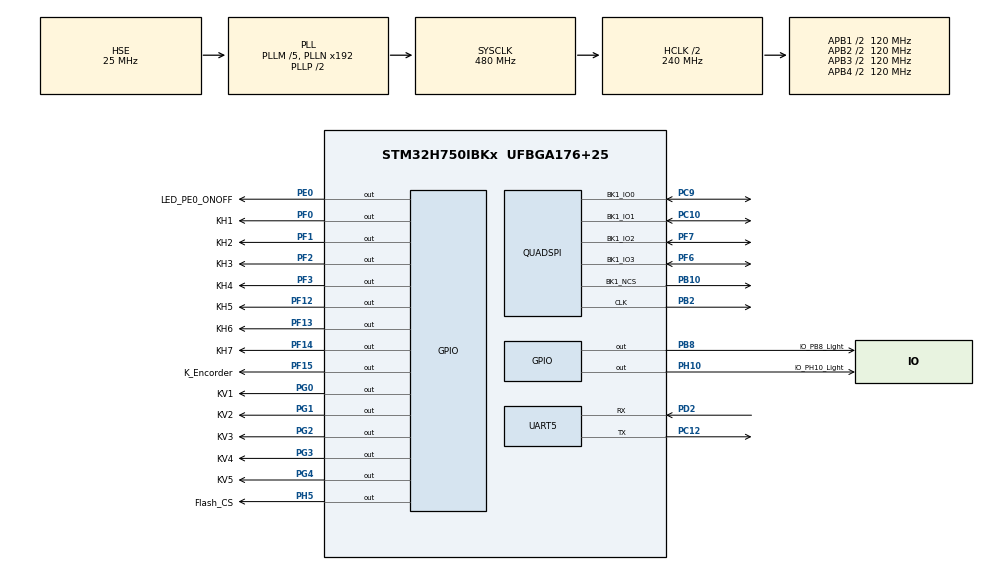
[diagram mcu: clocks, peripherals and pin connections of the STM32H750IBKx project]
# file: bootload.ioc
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CORTEX_M7.AccessPermission_S-Cortex_Memory_Protection_Unit_Region1_Settings_S=MPU_REGION_FULL_ACCESS
CORTEX_M7.AccessPermission_S-Cortex_Memory_Protection_Unit_Region2_Settings_S=MPU_REGION_FULL_ACCESS
CORTEX_M7.AccessPermission_S-Cortex_Memory_Protection_Unit_Region3_Settings_S=MPU_REGION_FULL_ACCESS
CORTEX_M7.AccessPermission_Spec=MPU_REGION_FULL_ACCESS
CORTEX_M7.BaseAddress_S-Cortex_Memory_Protection_Unit_Region1_Settings_S=0x30044000
CORTEX_M7.BaseAddress_S-Cortex_Memory_Protection_Unit_Region2_Settings_S=0x24000000
CORTEX_M7.BaseAddress_S-Cortex_Memory_Protection_Unit_Region3_Settings_S=0x90000000
CORTEX_M7.BaseAddress_Spec=0x30040000
CORTEX_M7.DisableExec_Spec=MPU_INSTRUCTION_ACCESS_ENABLE
CORTEX_M7.Enable_S-Cortex_Memory_Protection_Unit_Region1_Settings_S=MPU_REGION_ENABLE
CORTEX_M7.Enable_S-Cortex_Memory_Protection_Unit_Region2_Settings_S=MPU_REGION_ENABLE
CORTEX_M7.Enable_S-Cortex_Memory_Protection_Unit_Region3_Settings_S=MPU_REGION_ENABLE
CORTEX_M7.IsBufferable_S-Cortex_Memory_Protection_Unit_Region2_Settings_S=MPU_ACCESS_BUFFERABLE
CORTEX_M7.IsBufferable_S-Cortex_Memory_Protection_Unit_Region3_Settings_S=MPU_ACCESS_BUFFERABLE
CORTEX_M7.IsBufferable_Spec=MPU_ACCESS_BUFFERABLE
CORTEX_M7.IsCacheable_S-Cortex_Memory_Protection_Unit_Region1_Settings_S=MPU_ACCESS_CACHEABLE
CORTEX_M7.IsCacheable_S-Cortex_Memory_Protection_Unit_Region2_Settings_S=MPU_ACCESS_CACHEABLE
CORTEX_M7.IsCacheable_S-Cortex_Memory_Protection_Unit_Region3_Settings_S=MPU_ACCESS_CACHEABLE
CORTEX_M7.IsCacheable_Spec=MPU_ACCESS_NOT_CACHEABLE
CORTEX_M7.IsShareable_S-Cortex_Memory_Protection_Unit_Region2_Settings_S=MPU_ACCESS_SHAREABLE
CORTEX_M7.IsShareable_Spec=MPU_ACCESS_NOT_SHAREABLE
CORTEX_M7.Size_S-Cortex_Memory_Protection_Unit_Region1_Settings_S=MPU_REGION_SIZE_64KB
CORTEX_M7.Size_S-Cortex_Memory_Protection_Unit_Region2_Settings_S=MPU_REGION_SIZE_512KB
CORTEX_M7.Size_S-Cortex_Memory_Protection_Unit_Region3_Settings_S=MPU_REGION_SIZE_8MB
CORTEX_M7.Size_Spec=MPU_REGION_SIZE_256B
CORTEX_M7.SubRegionDisable_Spec=0x00
CORTEX_M7.default_mode_Activation=1
Mcu.Family=STM32H7
Mcu.Name=STM32H750IBKx
Mcu.Package=UFBGA176+25
NVIC.PriorityGroup=NVIC_PRIORITYGROUP_4
NVIC.TIM6_DAC_IRQn=true\:15\:0\:false\:false\:true\:false\:true\:true
NVIC.TimeBase=TIM6_DAC_IRQn
NVIC.TimeBaseIP=TIM6
PA13\ (JTMS/SWDIO).Mode=Serial_Wire
PA13\ (JTMS/SWDIO).Signal=DEBUG_JTMS-SWDIO
PA14\ (JTCK/SWCLK).Mode=Serial_Wire
PA14\ (JTCK/SWCLK).Signal=DEBUG_JTCK-SWCLK
PB10.GPIO_Speed=GPIO_SPEED_FREQ_VERY_HIGH
PB10.Mode=Single Bank 1
PB10.Signal=QUADSPI_BK1_NCS
PB2.GPIO_Speed=GPIO_SPEED_FREQ_VERY_HIGH
PB2.Mode=Single Bank 1
PB2.Signal=QUADSPI_CLK
PB8.GPIO_Label=IO_PB8_Light
PB8.Signal=GPIO_Output
PC10.GPIO_Speed=GPIO_SPEED_FREQ_VERY_HIGH
PC10.Mode=Single Bank 1
PC10.Signal=QUADSPI_BK1_IO1
PC12.Mode=Asynchronous
PC12.Signal=UART5_TX
PC9.GPIO_Speed=GPIO_SPEED_FREQ_VERY_HIGH
PC9.Mode=Single Bank 1
PC9.Signal=QUADSPI_BK1_IO0
PD2.Mode=Asynchronous
PD2.Signal=UART5_RX
PE0.GPIO_Label=LED_PE0_ONOFF
PE0.Signal=GPIO_Output
PF0.GPIO_Label=KH1
PF0.Signal=GPIO_Output
PF1.GPIO_Label=KH2
PF1.Signal=GPIO_Output
PF12.GPIO_Label=KH5
PF12.Signal=GPIO_Output
PF13.GPIO_Label=KH6
PF13.Signal=GPIO_Output
PF14.GPIO_Label=KH7
PF14.Signal=GPIO_Output
PF15.GPIO_Label=K_Encorder
PF15.Signal=GPIO_Output
PF2.GPIO_Label=KH3
PF2.Signal=GPIO_Output
PF3.GPIO_Label=KH4
PF3.Signal=GPIO_Output
PF6.GPIO_Speed=GPIO_SPEED_FREQ_VERY_HIGH
PF6.Mode=Single Bank 1
PF6.Signal=QUADSPI_BK1_IO3
PF7.GPIO_Speed=GPIO_SPEED_FREQ_VERY_HIGH
PF7.Mode=Single Bank 1
PF7.Signal=QUADSPI_BK1_IO2
PG0.GPIO_Label=KV1
PG0.Signal=GPIO_Output
PG1.GPIO_Label=KV2
PG1.Signal=GPIO_Output
PG2.GPIO_Label=KV3
PG2.Signal=GPIO_Output
PG3.GPIO_Label=KV4
PG3.Signal=GPIO_Output
PG4.GPIO_Label=KV5
PG4.Signal=GPIO_Output
PH0-OSC_IN\ (PH0).Mode=HSE-External-Oscillator
PH0-OSC_IN\ (PH0).Signal=RCC_OSC_IN
PH1-OSC_OUT\ (PH1).Mode=HSE-External-Oscillator
PH1-OSC_OUT\ (PH1).Signal=RCC_OSC_OUT
PH10.GPIO_Label=IO_PH10_Light
PH10.Signal=GPIO_Output
PH5.GPIO_Label=Flash_CS
PH5.Signal=GPIO_Output
ProjectManager.HeapSize=0x2000
ProjectManager.StackSize=0x2000
ProjectManager.TargetToolchain=MDK-ARM V5.32
QUADSPI.ChipSelectHighTime=QSPI_CS_HIGH_TIME_2_CYCLE
QUADSPI.ClockPrescaler=1
QUADSPI.FifoThreshold=32
QUADSPI.FlashSize=23
QUADSPI.SampleShifting=QSPI_SAMPLE_SHIFTING_HALFCYCLE
RCC.ADCFreq_Value=50390625
RCC.APB1Freq_Value=120000000
RCC.APB2Freq_Value=120000000
RCC.APB3Freq_Value=120000000
RCC.APB4Freq_Value=120000000
RCC.CortexFreq_Value=480000000
RCC.D1PPRE=RCC_APB3_DIV2
RCC.D2PPRE1=RCC_APB1_DIV2
RCC.D2PPRE2=RCC_APB2_DIV2
RCC.D3PPRE=RCC_APB4_DIV2
RCC.DIVM1=5
RCC.DIVN1=192
RCC.HCLKFreq_Value=240000000
RCC.HPRE=RCC_HCLK_DIV2
RCC.PLL2FRACN=0
RCC.PLL3FRACN=0
RCC.PLLFRACN=0
RCC.PLLSourceVirtual=RCC_PLLSOURCE_HSE
RCC.PWR_Regulator_Voltage_Scale=PWR_REGULATOR_VOLTAGE_SCALE0
RCC.SYSCLKFreq_VALUE=480000000
RCC.SYSCLKSource=RCC_SYSCLKSOURCE_PLLCLK
RCC.USBFreq_Value=480000000
VP_MEMORYMAP_VS_MEMORYMAP.Mode=CurAppReg
VP_SYS_VS_tim6.Mode=TIM6
board=custom

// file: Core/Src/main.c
/* USER CODE BEGIN Header */
/**
  ******************************************************************************
  * @file           : main.c
  * @brief          : Main program body
  ******************************************************************************
  * @attention
  *
  * Copyright (c) 2026 STMicroelectronics.
  * All rights reserved.
  *
  * This software is licensed under terms that can be found in the LICENSE file
  * in the root directory of this software component.
  * If no LICENSE file comes with this software, it is provided AS-IS.
  *
  ******************************************************************************
  */
/* USER CODE END Header */
#include "main.h"
#include "quadspi.h"
#include "usart.h"
#include "gpio.h"

/* USER CODE BEGIN Includes */
#include <stdio.h>
#include "BspQspiBoot.h"
/* USER CODE END Includes */

void SystemClock_Config(void);
static void MPU_Config(void);

/* USER CODE BEGIN 0 */
/* 开关全局中断的宏 */
#define ENABLE_INT()	__set_PRIMASK(0)	/* 使能全局中断 */
#define DISABLE_INT()	__set_PRIMASK(1)	/* 禁止全局中断 */
static void JumpToApp(void)
{
	uint32_t i=0;
	void (*AppJump)(void);         /* 声明一个函数指针 */
	__IO uint32_t AppAddr = 0x90002000;  /* APP 地址 */

    /* 关闭全局中断 */
	DISABLE_INT();
    //[删除]
    /* 设置所有时钟到默认状态，使用HSI时钟 */
	HAL_RCC_DeInit();
    //【添加】
    HAL_SuspendTick();

	/* 关闭滴答定时器，复位到默认值 */
	SysTick->CTRL = 0;
    SysTick->LOAD = 0;
    SysTick->VAL = 0;

    /* 关闭所有中断，清除所有中断挂起标志 */
	for (i = 0; i < 8; i++)
	{
		NVIC->ICER[i]=0xFFFFFFFF;
		NVIC->ICPR[i]=0xFFFFFFFF;
	}

//	/* 使能全局中断 */
//ENABLE_INT();

	/* 跳转到应用程序，首地址是MSP，地址+4是复位中断服务程序地址 */
	AppJump = (void (*)(void)) (*((uint32_t *) (AppAddr + 4)));

	/* 设置主堆栈指针 */
	__set_MSP(*(uint32_t *)AppAddr);

	/* 在RTOS工程，这条语句很重要，设置为特权级模式，使用MSP指针 */
	__set_CONTROL(0);

	/* 跳转到系统BootLoader */
	AppJump();

	/* 跳转成功的话，不会执行到这里，用户可以在这里添加代码 */
	while (1)
	{

	}
}
/*
*********************************************************************************************************
*	函 数 名: CPU_CACHE_Enable
*	功能说明: 使能L1 Cache
*	形    参: 无
*	返 回 值: 无
*********************************************************************************************************
*/
static void CPU_CACHE_Enable(void)
{
	/* 使能 I-Cache */
	SCB_EnableICache();

	/* 使能 D-Cache */
	SCB_EnableDCache();
}
/* USER CODE END 0 */

int main(void)
{

  /* MPU Configuration--------------------------------------------------------*/
  MPU_Config();

  /* MCU Configuration--------------------------------------------------------*/
    /* 使能L1 Cache */
	CPU_CACHE_Enable();
  /* Reset of all peripherals, Initializes the Flash interface and the Systick. */
  HAL_Init();

  /* Configure the system clock */
  SystemClock_Config();

  /* Initialize all configured peripherals */
  MX_GPIO_Init();
  MX_QUADSPI_Init();
  MX_UART5_Init();
  /* USER CODE BEGIN 2 */
    printf("Bootloader Started...\r\n"); // 先打一行，证明 Bootloader 跑起来了
    if (BspQspiBoot_MemMapped() != 0) {
        printf("QSPI Memory Mapped Failed!\r\n");
    Error_Handler();
    }
        printf("QSPI Mapped Success. Jumping to APP...\r\n");
    JumpToApp();
  /* USER CODE END 2 */

  /* Infinite loop */
  while (1)
  {

  }
}

void SystemClock_Config(void)
{
  RCC_OscInitTypeDef RCC_OscInitStruct = {0};
  RCC_ClkInitTypeDef RCC_ClkInitStruct = {0};

  /** Supply configuration update enable
  */
  HAL_PWREx_ConfigSupply(PWR_LDO_SUPPLY);

  /** Configure the main internal regulator output voltage
  */
  __HAL_PWR_VOLTAGESCALING_CONFIG(PWR_REGULATOR_VOLTAGE_SCALE0);

  while(!__HAL_PWR_GET_FLAG(PWR_FLAG_VOSRDY)) {}

  /** Initializes the RCC Oscillators according to the specified parameters
  * in the RCC_OscInitTypeDef structure.
  */
  RCC_OscInitStruct.OscillatorType = RCC_OSCILLATORTYPE_HSE;
  RCC_OscInitStruct.HSEState = RCC_HSE_ON;
  RCC_OscInitStruct.PLL.PLLState = RCC_PLL_ON;
  RCC_OscInitStruct.PLL.PLLSource = RCC_PLLSOURCE_HSE;
  RCC_OscInitStruct.PLL.PLLM = 5;
  RCC_OscInitStruct.PLL.PLLN = 192;
  RCC_OscInitStruct.PLL.PLLP = 2;
  RCC_OscInitStruct.PLL.PLLQ = 2;
  RCC_OscInitStruct.PLL.PLLR = 2;
  RCC_OscInitStruct.PLL.PLLRGE = RCC_PLL1VCIRANGE_2;
  RCC_OscInitStruct.PLL.PLLVCOSEL = RCC_PLL1VCOWIDE;
  RCC_OscInitStruct.PLL.PLLFRACN = 0;
  if (HAL_RCC_OscConfig(&RCC_OscInitStruct) != HAL_OK)
  {
    Error_Handler();
  }

  /** Initializes the CPU, AHB and APB buses clocks
  */
  RCC_ClkInitStruct.ClockType = RCC_CLOCKTYPE_HCLK|RCC_CLOCKTYPE_SYSCLK
                              |RCC_CLOCKTYPE_PCLK1|RCC_CLOCKTYPE_PCLK2
                              |RCC_CLOCKTYPE_D3PCLK1|RCC_CLOCKTYPE_D1PCLK1;
  RCC_ClkInitStruct.SYSCLKSource = RCC_SYSCLKSOURCE_PLLCLK;
  RCC_ClkInitStruct.SYSCLKDivider = RCC_SYSCLK_DIV1;
  RCC_ClkInitStruct.AHBCLKDivider = RCC_HCLK_DIV2;
  RCC_ClkInitStruct.APB3CLKDivider = RCC_APB3_DIV2;
  RCC_ClkInitStruct.APB1CLKDivider = RCC_APB1_DIV2;
  RCC_ClkInitStruct.APB2CLKDivider = RCC_APB2_DIV2;
  RCC_ClkInitStruct.APB4CLKDivider = RCC_APB4_DIV2;

  if (HAL_RCC_ClockConfig(&RCC_ClkInitStruct, FLASH_LATENCY_4) != HAL_OK)
  {
    Error_Handler();
  }
}

 /* MPU Configuration */

void MPU_Config(void)
{
  MPU_Region_InitTypeDef MPU_InitStruct = {0};

  /* Disables the MPU */
  HAL_MPU_Disable();

  /** Initializes and configures the Region and the memory to be protected
  */
  MPU_InitStruct.Enable = MPU_REGION_ENABLE;
  MPU_InitStruct.Number = MPU_REGION_NUMBER0;
  MPU_InitStruct.BaseAddress = 0x30040000;
  MPU_InitStruct.Size = MPU_REGION_SIZE_256B;
  MPU_InitStruct.SubRegionDisable = 0x00;
  MPU_InitStruct.TypeExtField = MPU_TEX_LEVEL0;
  MPU_InitStruct.AccessPermission = MPU_REGION_FULL_ACCESS;
  MPU_InitStruct.DisableExec = MPU_INSTRUCTION_ACCESS_ENABLE;
  MPU_InitStruct.IsShareable = MPU_ACCESS_NOT_SHAREABLE;
  MPU_InitStruct.IsCacheable = MPU_ACCESS_NOT_CACHEABLE;
  MPU_InitStruct.IsBufferable = MPU_ACCESS_BUFFERABLE;

  HAL_MPU_ConfigRegion(&MPU_InitStruct);

  /** Initializes and configures the Region and the memory to be protected
  */
  MPU_InitStruct.Number = MPU_REGION_NUMBER1;
  MPU_InitStruct.BaseAddress = 0x30044000;
  MPU_InitStruct.Size = MPU_REGION_SIZE_64KB;
  MPU_InitStruct.SubRegionDisable = 0x0;
  MPU_InitStruct.IsCacheable = MPU_ACCESS_CACHEABLE;
  MPU_InitStruct.IsBufferable = MPU_ACCESS_NOT_BUFFERABLE;

  HAL_MPU_ConfigRegion(&MPU_InitStruct);

  /** Initializes and configures the Region and the memory to be protected
  */
  MPU_InitStruct.Number = MPU_REGION_NUMBER2;
  MPU_InitStruct.BaseAddress = 0x24000000;
  MPU_InitStruct.Size = MPU_REGION_SIZE_512KB;
  MPU_InitStruct.IsShareable = MPU_ACCESS_SHAREABLE;
  MPU_InitStruct.IsBufferable = MPU_ACCESS_BUFFERABLE;

  HAL_MPU_ConfigRegion(&MPU_InitStruct);

  /** Initializes and configures the Region and the memory to be protected
  */
  MPU_InitStruct.Number = MPU_REGION_NUMBER3;
  MPU_InitStruct.BaseAddress = 0x90002000;
  MPU_InitStruct.Size = MPU_REGION_SIZE_8MB;
  MPU_InitStruct.AccessPermission = MPU_REGION_FULL_ACCESS; // 允许访问
  MPU_InitStruct.DisableExec = MPU_INSTRUCTION_ACCESS_ENABLE; // 允许执行指令（核心！）
  MPU_InitStruct.IsShareable = MPU_ACCESS_NOT_SHAREABLE;
  MPU_InitStruct.IsCacheable = MPU_ACCESS_CACHEABLE;   // 开启 Cache（核心！）
  MPU_InitStruct.IsBufferable = MPU_ACCESS_BUFFERABLE; // 开启缓冲
  MPU_InitStruct.TypeExtField = MPU_TEX_LEVEL0;        // 配合 C=1, B=1 组成 Write-back 模式

  HAL_MPU_ConfigRegion(&MPU_InitStruct);
  /* Enables the MPU */
  HAL_MPU_Enable(MPU_PRIVILEGED_DEFAULT);

}

void HAL_TIM_PeriodElapsedCallback(TIM_HandleTypeDef *htim)
{
  if (htim->Instance == TIM6)
  {
    HAL_IncTick();
  }
}

void Error_Handler(void)
{
  __disable_irq();
  while (1)
  {
  }
}
